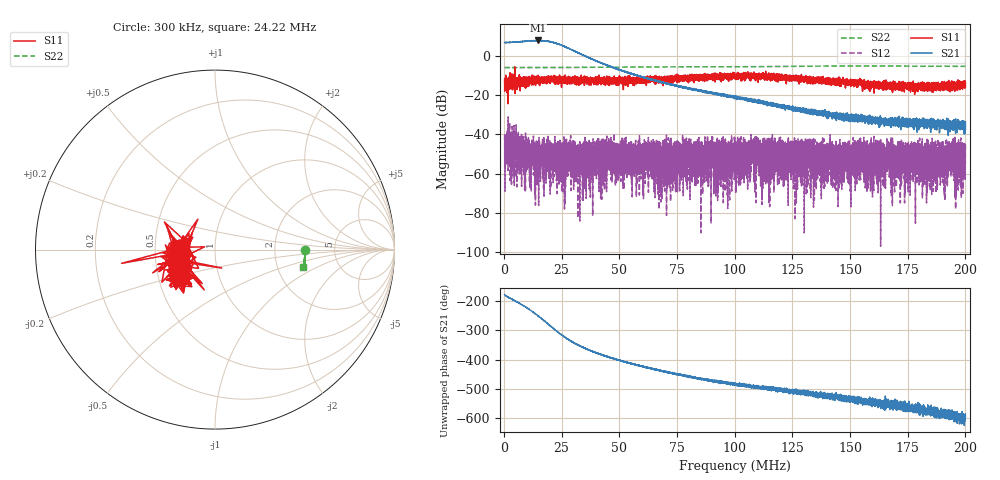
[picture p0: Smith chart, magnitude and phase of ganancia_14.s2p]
# Hz S DB R 50
! CMT, M5065, 19127446, 24.2.4/2
! Date: 11/8/2024 2:51:22 PM
! Data: Format (Calibration Info)
! Freq	S11:dB/Ang(F2)	S21:dB/Ang(F2)	S12:dB/Ang(F2)	S22:dB/Ang(F2)
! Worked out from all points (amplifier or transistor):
!   9000 points, 300 kHz to 200 MHz, reference 50 ohm
!   highest |S21| = 7.8 dB at 14.77 MHz (marker M1)
!   |S21| within 3 dB of that: start of sweep to 25.99 MHz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
!   unconditionally stable (mu >= 1): start of sweep to end of sweep
!   at 33.59 MHz: K = 117.83, MAG = 2.1 dB, |S12| = -51.0 dB
!   at 100.2 MHz: K = 1370.04, MAG = -19.1 dB, |S12| = -51.4 dB
!   at 200 MHz: K = 9291.80, MAG = -32.1 dB, |S12| = -55.0 dB
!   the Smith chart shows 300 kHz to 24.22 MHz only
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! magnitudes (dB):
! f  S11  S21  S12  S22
! 300 kHz  -12.1  6.7  -40.1  -6.0
! 8.666 MHz  -13.2  7.3  -46.3  -6.0
! 14.77 MHz  -12.0  7.8  -47.3  -6.0
! 33.59 MHz  -13.7  0.6  -51.0  -5.9
! 66.87 MHz  -11.4  -13.1  -46.9  -5.7
! 100.2 MHz  -10.4  -21.0  -51.4  -5.5
! 107.1 MHz  -10.6  -23.1  -59.9  -5.6
! 109.2 MHz  -10.2  -23.7  -56.4  -5.5
! 110.3 MHz  -10.4  -22.5  -55.8  -5.5
! 114.4 MHz  -10.4  -24.3  -43.9  -5.5
! 119.8 MHz  -11.0  -25.7  -41.4  -5.4
! 121.9 MHz  -11.6  -26.4  -52.1  -5.4
! 133.4 MHz  -12.9  -28.1  -46.6  -5.3
! 148.4 MHz  -13.6  -32.3  -47.6  -5.2
! 149.6 MHz  -12.8  -31.6  -43.3  -5.2
! 154 MHz  -12.0  -30.5  -61.6  -5.2
! 162.3 MHz  -14.4  -33.7  -50.1  -5.2
! 166.7 MHz  -14.4  -33.0  -49.8  -5.2
! 180.7 MHz  -15.4  -32.7  -54.7  -5.3
! 191.4 MHz  -14.0  -37.5  -46.5  -5.3
! 193.8 MHz  -13.3  -34.4  -53.5  -5.4
! 200 MHz  -14.0  -33.8  -55.0  -5.4
